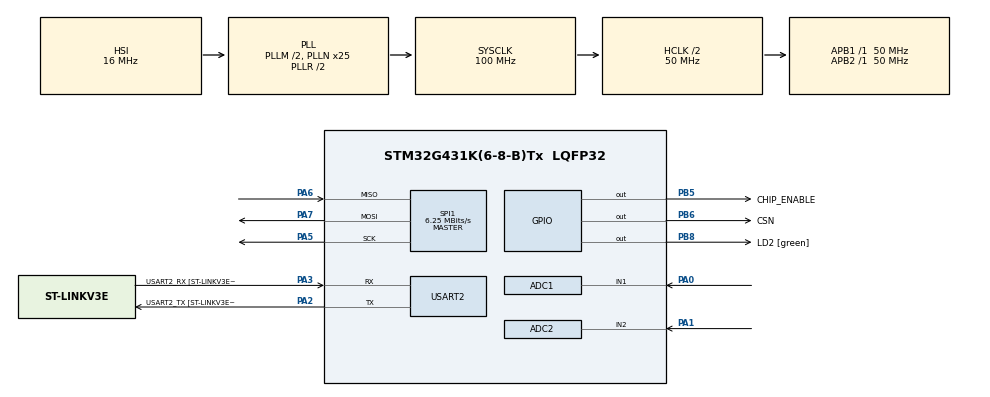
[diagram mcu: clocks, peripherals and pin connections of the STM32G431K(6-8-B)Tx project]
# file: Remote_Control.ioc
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ADC1.Channel-0\#ChannelRegularConversion=ADC_CHANNEL_1
ADC1.NbrOfConversionFlag=1
ADC1.OffsetNumber-0\#ChannelRegularConversion=ADC_OFFSET_NONE
ADC1.Rank-0\#ChannelRegularConversion=1
ADC1.SamplingTime-0\#ChannelRegularConversion=ADC_SAMPLETIME_2CYCLES_5
ADC1.master=1
ADC2.Channel-0\#ChannelRegularConversion=ADC_CHANNEL_2
ADC2.NbrOfConversionFlag=1
ADC2.OffsetNumber-0\#ChannelRegularConversion=ADC_OFFSET_NONE
ADC2.Rank-0\#ChannelRegularConversion=1
ADC2.SamplingTime-0\#ChannelRegularConversion=ADC_SAMPLETIME_2CYCLES_5
Mcu.Family=STM32G4
Mcu.Name=STM32G431K(6-8-B)Tx
Mcu.Package=LQFP32
NVIC.PriorityGroup=NVIC_PRIORITYGROUP_4
PA0.Mode=IN1-Single-Ended
PA0.Signal=ADC1_IN1
PA1.Mode=IN2-Single-Ended
PA1.Signal=ADC2_IN2
PA13.GPIO_Label=T_SWDIO
PA13.Mode=Serial_Wire
PA13.Signal=SYS_JTMS-SWDIO
PA14.GPIO_Label=T_SWCLK
PA14.Mode=Serial_Wire
PA14.Signal=SYS_JTCK-SWCLK
PA2.GPIO_Label=USART2_TX [ST-LINKV3E_VCP_RX]
PA2.Mode=Asynchronous
PA2.Signal=USART2_TX
PA3.GPIO_Label=USART2_RX [ST-LINKV3E_VCP_TX]
PA3.Mode=Asynchronous
PA3.Signal=USART2_RX
PA5.Mode=Full_Duplex_Master
PA5.Signal=SPI1_SCK
PA6.Mode=Full_Duplex_Master
PA6.Signal=SPI1_MISO
PA7.Mode=Full_Duplex_Master
PA7.Signal=SPI1_MOSI
PB3.GPIO_Label=T_SWO
PB3.Signal=SYS_JTDO-SWO
PB5.GPIO_Label=CHIP_ENABLE
PB5.Signal=GPIO_Output
PB6.GPIO_Label=CSN
PB6.PinState=GPIO_PIN_SET
PB6.Signal=GPIO_Output
PB8-BOOT0.GPIO_Label=LD2 [green]
PB8-BOOT0.Signal=GPIO_Output
ProjectManager.HeapSize=0x200
ProjectManager.StackSize=0x400
ProjectManager.TargetToolchain=STM32CubeIDE
RCC.ADC12Freq_Value=100000000
RCC.AHBCLKDivider=RCC_SYSCLK_DIV2
RCC.AHBFreq_Value=50000000
RCC.APB1Freq_Value=50000000
RCC.APB1TimFreq_Value=50000000
RCC.APB2Freq_Value=50000000
RCC.APB2TimFreq_Value=50000000
RCC.CortexFreq_Value=50000000
RCC.EXTERNAL_CLOCK_VALUE=12288000
RCC.HCLKFreq_Value=50000000
RCC.HSE_VALUE=8000000
RCC.HSI48_VALUE=48000000
RCC.HSI_VALUE=16000000
RCC.LSE_VALUE=32768
RCC.PLLM=RCC_PLLM_DIV2
RCC.PLLN=25
RCC.SYSCLKFreq_VALUE=100000000
RCC.SYSCLKSource=RCC_SYSCLKSOURCE_PLLCLK
RCC.USBFreq_Value=100000000
RCC.VCOOutputFreq_Value=200000000
SPI1.BaudRatePrescaler=SPI_BAUDRATEPRESCALER_8
SPI1.CalculateBaudRate=6.25 MBits/s
SPI1.DataSize=SPI_DATASIZE_8BIT
SPI1.Direction=SPI_DIRECTION_2LINES
SPI1.FirstBit=SPI_FIRSTBIT_MSB
SPI1.Mode=SPI_MODE_MASTER
SPI1.VirtualType=VM_MASTER
USART2.VirtualMode-Asynchronous=VM_ASYNC
USART2.WordLength=WORDLENGTH_8B
board=NUCLEO-G431KB

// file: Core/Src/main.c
/* USER CODE BEGIN Header */
/**
  ******************************************************************************
  * @file           : main.c
  * @brief          : Main program body
  ******************************************************************************
  * @attention
  *
  * Copyright (c) 2023 STMicroelectronics.
  * All rights reserved.
  *
  * This software is licensed under terms that can be found in the LICENSE file
  * in the root directory of this software component.
  * If no LICENSE file comes with this software, it is provided AS-IS.
  *
  ******************************************************************************
  */
/* USER CODE END Header */
#include "main.h"

/* USER CODE BEGIN Includes */
#include <string.h>
#include <stdio.h>
#include "RFDriver.h"

/* USER CODE END Includes */

ADC_HandleTypeDef hadc1;
ADC_HandleTypeDef hadc2;

SPI_HandleTypeDef hspi1;

UART_HandleTypeDef huart2;

void SystemClock_Config(void);
static void MX_GPIO_Init(void);
static void MX_USART2_UART_Init(void);
static void MX_ADC1_Init(void);
static void MX_ADC2_Init(void);
static void MX_SPI1_Init(void);

int main(void)
{

  /* MCU Configuration--------------------------------------------------------*/

  /* Reset of all peripherals, Initializes the Flash interface and the Systick. */
  HAL_Init();

  /* Configure the system clock */
  SystemClock_Config();

  /* Initialize all configured peripherals */
  MX_GPIO_Init();
  MX_USART2_UART_Init();
  MX_ADC1_Init();
  MX_ADC2_Init();
  MX_SPI1_Init();
  /* USER CODE BEGIN 2 */
  uint32_t raw1;
  uint32_t raw2;
  char buf[60];
  RF_HandleTypeDef hRF;
  hRF.hspi = &hspi1;
  hRF.portCE = CHIP_ENABLE_GPIO_Port;
  hRF.pinCE = CHIP_ENABLE_Pin;
  hRF.portCSN = CSN_GPIO_Port;
  hRF.pinCSN = CSN_Pin;
  RFSetup(hRF);
  HAL_Delay(100);
  TXSetup();

  /* USER CODE END 2 */

  /* Infinite loop */
  while (1)
  {

    /* USER CODE BEGIN 3 */

	// Get ADC value
	HAL_ADC_Start(&hadc1);
	HAL_ADC_PollForConversion(&hadc1, HAL_MAX_DELAY);
	raw1 = HAL_ADC_GetValue(&hadc1); // between 0 and 4095

	// Get ADC value
	HAL_ADC_Start(&hadc2);
	HAL_ADC_PollForConversion(&hadc2, HAL_MAX_DELAY);
	raw2 = HAL_ADC_GetValue(&hadc2); // between 0 and 4095

	sprintf(buf, "x-value, y-value = %lu, %lu \r\n", raw1, raw2);

	HAL_UART_Transmit(&huart2, (uint8_t*)buf, strlen((char*)buf), HAL_MAX_DELAY);
	uint8_t data[32];
	encodeData(data, raw1, raw2);
	TXSend(data);
	HAL_Delay(20);
  }
  /* USER CODE END 3 */
}

void SystemClock_Config(void)
{
  RCC_OscInitTypeDef RCC_OscInitStruct = {0};
  RCC_ClkInitTypeDef RCC_ClkInitStruct = {0};

  /** Configure the main internal regulator output voltage
  */
  HAL_PWREx_ControlVoltageScaling(PWR_REGULATOR_VOLTAGE_SCALE1);

  /** Initializes the RCC Oscillators according to the specified parameters
  * in the RCC_OscInitTypeDef structure.
  */
  RCC_OscInitStruct.OscillatorType = RCC_OSCILLATORTYPE_HSI;
  RCC_OscInitStruct.HSIState = RCC_HSI_ON;
  RCC_OscInitStruct.HSICalibrationValue = RCC_HSICALIBRATION_DEFAULT;
  RCC_OscInitStruct.PLL.PLLState = RCC_PLL_ON;
  RCC_OscInitStruct.PLL.PLLSource = RCC_PLLSOURCE_HSI;
  RCC_OscInitStruct.PLL.PLLM = RCC_PLLM_DIV2;
  RCC_OscInitStruct.PLL.PLLN = 25;
  RCC_OscInitStruct.PLL.PLLP = RCC_PLLP_DIV2;
  RCC_OscInitStruct.PLL.PLLQ = RCC_PLLQ_DIV2;
  RCC_OscInitStruct.PLL.PLLR = RCC_PLLR_DIV2;
  if (HAL_RCC_OscConfig(&RCC_OscInitStruct) != HAL_OK)
  {
    Error_Handler();
  }

  /** Initializes the CPU, AHB and APB buses clocks
  */
  RCC_ClkInitStruct.ClockType = RCC_CLOCKTYPE_HCLK|RCC_CLOCKTYPE_SYSCLK
                              |RCC_CLOCKTYPE_PCLK1|RCC_CLOCKTYPE_PCLK2;
  RCC_ClkInitStruct.SYSCLKSource = RCC_SYSCLKSOURCE_PLLCLK;
  RCC_ClkInitStruct.AHBCLKDivider = RCC_SYSCLK_DIV2;
  RCC_ClkInitStruct.APB1CLKDivider = RCC_HCLK_DIV1;
  RCC_ClkInitStruct.APB2CLKDivider = RCC_HCLK_DIV1;

  if (HAL_RCC_ClockConfig(&RCC_ClkInitStruct, FLASH_LATENCY_1) != HAL_OK)
  {
    Error_Handler();
  }
}

static void MX_ADC1_Init(void)
{

  ADC_MultiModeTypeDef multimode = {0};
  ADC_ChannelConfTypeDef sConfig = {0};

  /** Common config
  */
  hadc1.Instance = ADC1;
  hadc1.Init.ClockPrescaler = ADC_CLOCK_SYNC_PCLK_DIV2;
  hadc1.Init.Resolution = ADC_RESOLUTION_12B;
  hadc1.Init.DataAlign = ADC_DATAALIGN_RIGHT;
  hadc1.Init.GainCompensation = 0;
  hadc1.Init.ScanConvMode = ADC_SCAN_DISABLE;
  hadc1.Init.EOCSelection = ADC_EOC_SINGLE_CONV;
  hadc1.Init.LowPowerAutoWait = DISABLE;
  hadc1.Init.ContinuousConvMode = DISABLE;
  hadc1.Init.NbrOfConversion = 1;
  hadc1.Init.DiscontinuousConvMode = DISABLE;
  hadc1.Init.ExternalTrigConv = ADC_SOFTWARE_START;
  hadc1.Init.ExternalTrigConvEdge = ADC_EXTERNALTRIGCONVEDGE_NONE;
  hadc1.Init.DMAContinuousRequests = DISABLE;
  hadc1.Init.Overrun = ADC_OVR_DATA_PRESERVED;
  hadc1.Init.OversamplingMode = DISABLE;
  if (HAL_ADC_Init(&hadc1) != HAL_OK)
  {
    Error_Handler();
  }

  /** Configure the ADC multi-mode
  */
  multimode.Mode = ADC_MODE_INDEPENDENT;
  if (HAL_ADCEx_MultiModeConfigChannel(&hadc1, &multimode) != HAL_OK)
  {
    Error_Handler();
  }

  /** Configure Regular Channel
  */
  sConfig.Channel = ADC_CHANNEL_1;
  sConfig.Rank = ADC_REGULAR_RANK_1;
  sConfig.SamplingTime = ADC_SAMPLETIME_2CYCLES_5;
  sConfig.SingleDiff = ADC_SINGLE_ENDED;
  sConfig.OffsetNumber = ADC_OFFSET_NONE;
  sConfig.Offset = 0;
  if (HAL_ADC_ConfigChannel(&hadc1, &sConfig) != HAL_OK)
  {
    Error_Handler();
  }

}

static void MX_ADC2_Init(void)
{

  ADC_ChannelConfTypeDef sConfig = {0};

  /** Common config
  */
  hadc2.Instance = ADC2;
  hadc2.Init.ClockPrescaler = ADC_CLOCK_SYNC_PCLK_DIV2;
  hadc2.Init.Resolution = ADC_RESOLUTION_12B;
  hadc2.Init.DataAlign = ADC_DATAALIGN_RIGHT;
  hadc2.Init.GainCompensation = 0;
  hadc2.Init.ScanConvMode = ADC_SCAN_DISABLE;
  hadc2.Init.EOCSelection = ADC_EOC_SINGLE_CONV;
  hadc2.Init.LowPowerAutoWait = DISABLE;
  hadc2.Init.ContinuousConvMode = DISABLE;
  hadc2.Init.NbrOfConversion = 1;
  hadc2.Init.DiscontinuousConvMode = DISABLE;
  hadc2.Init.ExternalTrigConv = ADC_SOFTWARE_START;
  hadc2.Init.ExternalTrigConvEdge = ADC_EXTERNALTRIGCONVEDGE_NONE;
  hadc2.Init.DMAContinuousRequests = DISABLE;
  hadc2.Init.Overrun = ADC_OVR_DATA_PRESERVED;
  hadc2.Init.OversamplingMode = DISABLE;
  if (HAL_ADC_Init(&hadc2) != HAL_OK)
  {
    Error_Handler();
  }

  /** Configure Regular Channel
  */
  sConfig.Channel = ADC_CHANNEL_2;
  sConfig.Rank = ADC_REGULAR_RANK_1;
  sConfig.SamplingTime = ADC_SAMPLETIME_2CYCLES_5;
  sConfig.SingleDiff = ADC_SINGLE_ENDED;
  sConfig.OffsetNumber = ADC_OFFSET_NONE;
  sConfig.Offset = 0;
  if (HAL_ADC_ConfigChannel(&hadc2, &sConfig) != HAL_OK)
  {
    Error_Handler();
  }

}

static void MX_SPI1_Init(void)
{

  /* SPI1 parameter configuration*/
  hspi1.Instance = SPI1;
  hspi1.Init.Mode = SPI_MODE_MASTER;
  hspi1.Init.Direction = SPI_DIRECTION_2LINES;
  hspi1.Init.DataSize = SPI_DATASIZE_8BIT;
  hspi1.Init.CLKPolarity = SPI_POLARITY_LOW;
  hspi1.Init.CLKPhase = SPI_PHASE_1EDGE;
  hspi1.Init.NSS = SPI_NSS_SOFT;
  hspi1.Init.BaudRatePrescaler = SPI_BAUDRATEPRESCALER_8;
  hspi1.Init.FirstBit = SPI_FIRSTBIT_MSB;
  hspi1.Init.TIMode = SPI_TIMODE_DISABLE;
  hspi1.Init.CRCCalculation = SPI_CRCCALCULATION_DISABLE;
  hspi1.Init.CRCPolynomial = 7;
  hspi1.Init.CRCLength = SPI_CRC_LENGTH_DATASIZE;
  hspi1.Init.NSSPMode = SPI_NSS_PULSE_ENABLE;
  if (HAL_SPI_Init(&hspi1) != HAL_OK)
  {
    Error_Handler();
  }

}

static void MX_USART2_UART_Init(void)
{

  huart2.Instance = USART2;
  huart2.Init.BaudRate = 115200;
  huart2.Init.WordLength = UART_WORDLENGTH_8B;
  huart2.Init.StopBits = UART_STOPBITS_1;
  huart2.Init.Parity = UART_PARITY_NONE;
  huart2.Init.Mode = UART_MODE_TX_RX;
  huart2.Init.HwFlowCtl = UART_HWCONTROL_NONE;
  huart2.Init.OverSampling = UART_OVERSAMPLING_16;
  huart2.Init.OneBitSampling = UART_ONE_BIT_SAMPLE_DISABLE;
  huart2.Init.ClockPrescaler = UART_PRESCALER_DIV1;
  huart2.AdvancedInit.AdvFeatureInit = UART_ADVFEATURE_NO_INIT;
  if (HAL_UART_Init(&huart2) != HAL_OK)
  {
    Error_Handler();
  }
  if (HAL_UARTEx_SetTxFifoThreshold(&huart2, UART_TXFIFO_THRESHOLD_1_8) != HAL_OK)
  {
    Error_Handler();
  }
  if (HAL_UARTEx_SetRxFifoThreshold(&huart2, UART_RXFIFO_THRESHOLD_1_8) != HAL_OK)
  {
    Error_Handler();
  }
  if (HAL_UARTEx_DisableFifoMode(&huart2) != HAL_OK)
  {
    Error_Handler();
  }

}

static void MX_GPIO_Init(void)
{
  GPIO_InitTypeDef GPIO_InitStruct = {0};

  /* GPIO Ports Clock Enable */
  __HAL_RCC_GPIOA_CLK_ENABLE();
  __HAL_RCC_GPIOB_CLK_ENABLE();

  /*Configure GPIO pin Output Level */
  HAL_GPIO_WritePin(GPIOB, CHIP_ENABLE_Pin|LD2_Pin, GPIO_PIN_RESET);

  /*Configure GPIO pin Output Level */
  HAL_GPIO_WritePin(CSN_GPIO_Port, CSN_Pin, GPIO_PIN_SET);

  /*Configure GPIO pins : CHIP_ENABLE_Pin CSN_Pin LD2_Pin */
  GPIO_InitStruct.Pin = CHIP_ENABLE_Pin|CSN_Pin|LD2_Pin;
  GPIO_InitStruct.Mode = GPIO_MODE_OUTPUT_PP;
  GPIO_InitStruct.Pull = GPIO_NOPULL;
  GPIO_InitStruct.Speed = GPIO_SPEED_FREQ_LOW;
  HAL_GPIO_Init(GPIOB, &GPIO_InitStruct);

}

void Error_Handler(void)
{
  __disable_irq();
  while (1)
  {
  }
}
